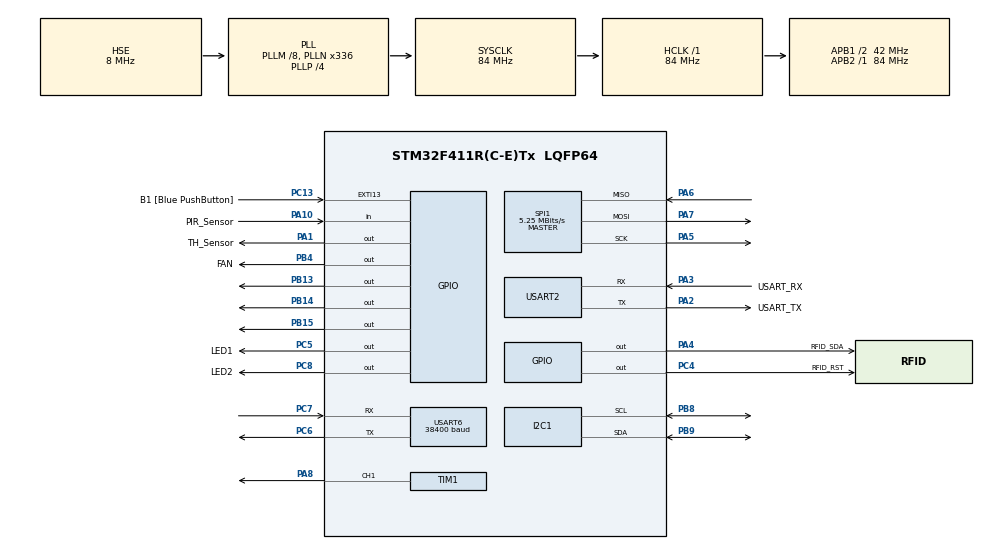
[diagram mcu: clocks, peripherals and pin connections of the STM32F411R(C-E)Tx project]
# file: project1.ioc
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FREERTOS.Mutexes01=ESP_Mutex,Dynamic,NULL,Available;NTP_Mutex,Dynamic,NULL,Available;Weather_Mutex,Dynamic,NULL,Available
FREERTOS.Tasks01=AiotTask,24,256,Aiot_Task,Default,NULL,Dynamic,NULL,NULL;NTPTask,16,512,NTP_Task,Default,NULL,Dynamic,NULL,NULL;WeatherTask,16,1024,Weather_Task,Default,NULL,Dynamic,NULL,NULL;CommandTask,40,256,Command_Task,Default,NULL,Dynamic,NULL,NULL;LCDTask,16,256,LCD_Task,Default,NULL,Dynamic,NULL,NULL;RFIDTask,24,256,RFID_Task,Default,NULL,Dynamic,NULL,NULL;THTask,8,256,TH_Task,Default,NULL,Dynamic,NULL,NULL;PIRTask,8,256,PIR_Task,Default,NULL,Dynamic,NULL,NULL;ScheduleTask,8,128,Schedule_Task,Default,NULL,Dynamic,NULL,NULL
Mcu.Family=STM32F4
Mcu.Name=STM32F411R(C-E)Tx
Mcu.Package=LQFP64
NVIC.PriorityGroup=NVIC_PRIORITYGROUP_4
NVIC.RTC_Alarm_IRQn=true\:5\:0\:false\:false\:true\:true\:true\:true\:true
NVIC.USART2_IRQn=true\:5\:0\:false\:false\:true\:true\:true\:true\:true
NVIC.USART6_IRQn=true\:5\:0\:false\:false\:true\:true\:true\:true\:true
PA1.GPIO_Label=TH_Sensor
PA1.Signal=GPIO_Output
PA10.GPIO_Label=PIR_Sensor
PA10.GPIO_PuPd=GPIO_PULLDOWN
PA10.Signal=GPIO_Input
PA13.GPIO_Label=TMS
PA13.Mode=Serial_Wire
PA13.Signal=SYS_JTMS-SWDIO
PA14.GPIO_Label=TCK
PA14.Mode=Serial_Wire
PA14.Signal=SYS_JTCK-SWCLK
PA2.GPIO_Label=USART_TX
PA2.Mode=Asynchronous
PA2.Signal=USART2_TX
PA3.GPIO_Label=USART_RX
PA3.Mode=Asynchronous
PA3.Signal=USART2_RX
PA4.GPIO_Label=RFID_SDA
PA4.Signal=GPIO_Output
PA5.Mode=Full_Duplex_Master
PA5.Signal=SPI1_SCK
PA6.Mode=Full_Duplex_Master
PA6.Signal=SPI1_MISO
PA7.Mode=Full_Duplex_Master
PA7.Signal=SPI1_MOSI
PA8.Signal=S_TIM1_CH1
PB13.Signal=GPIO_Output
PB14.Signal=GPIO_Output
PB15.Signal=GPIO_Output
PB3.GPIO_Label=SWO
PB3.Signal=SYS_JTDO-SWO
PB4.GPIO_Label=FAN
PB4.Signal=GPIO_Output
PB8.Mode=I2C
PB8.Signal=I2C1_SCL
PB9.Mode=I2C
PB9.Signal=I2C1_SDA
PC13-ANTI_TAMP.GPIO_Label=B1 [Blue PushButton]
PC13-ANTI_TAMP.GPIO_ModeDefaultEXTI=GPIO_MODE_IT_FALLING
PC13-ANTI_TAMP.Signal=GPXTI13
PC14-OSC32_IN.Signal=RCC_OSC32_IN
PC15-OSC32_OUT.Signal=RCC_OSC32_OUT
PC4.GPIO_Label=RFID_RST
PC4.Signal=GPIO_Output
PC5.GPIO_Label=LED1
PC5.Signal=GPIO_Output
PC6.Mode=Asynchronous
PC6.Signal=USART6_TX
PC7.Mode=Asynchronous
PC7.Signal=USART6_RX
PC8.GPIO_Label=LED2
PC8.Signal=GPIO_Output
PH0\ -\ OSC_IN.Mode=HSE-External-Oscillator
PH0\ -\ OSC_IN.Signal=RCC_OSC_IN
PH1\ -\ OSC_OUT.Mode=HSE-External-Oscillator
PH1\ -\ OSC_OUT.Signal=RCC_OSC_OUT
ProjectManager.HeapSize=0x200
ProjectManager.StackSize=0x400
ProjectManager.TargetToolchain=STM32CubeIDE
RCC.48MHZClocksFreq_Value=84000000
RCC.AHBFreq_Value=84000000
RCC.APB1CLKDivider=RCC_HCLK_DIV2
RCC.APB1Freq_Value=42000000
RCC.APB1TimFreq_Value=84000000
RCC.APB2Freq_Value=84000000
RCC.APB2TimFreq_Value=84000000
RCC.CortexFreq_Value=84000000
RCC.FLatency-AdvancedSettings=FLASH_LATENCY_2
RCC.HCLKFreq_Value=84000000
RCC.HSE_VALUE=8000000
RCC.HSI_VALUE=16000000
RCC.LSE_VALUE=32768
RCC.PLLM=8
RCC.PLLN=336
RCC.PLLP=RCC_PLLP_DIV4
RCC.PLLSourceVirtual=RCC_PLLSOURCE_HSE
RCC.SYSCLKFreq_VALUE=84000000
RCC.SYSCLKSource=RCC_SYSCLKSOURCE_PLLCLK
RCC.VCOOutputFreq_Value=336000000
RTC.Alarm=RTC_ALARM_A
SH.S_TIM1_CH1.0=TIM1_CH1,PWM Generation1 CH1
SPI1.BaudRatePrescaler=SPI_BAUDRATEPRESCALER_16
SPI1.CalculateBaudRate=5.25 MBits/s
SPI1.Direction=SPI_DIRECTION_2LINES
SPI1.Mode=SPI_MODE_MASTER
SPI1.VirtualType=VM_MASTER
TIM1.AutoReloadPreload=TIM_AUTORELOAD_PRELOAD_ENABLE
TIM1.Channel-PWM\ Generation1\ CH1=TIM_CHANNEL_1
TIM1.Period=19999
TIM1.Prescaler=83
TIM1.Pulse-PWM\ Generation1\ CH1=500
USART2.VirtualMode=VM_ASYNC
USART6.BaudRate=38400
USART6.VirtualMode=VM_ASYNC
VP_FREERTOS_VS_CMSIS_V2.Mode=CMSIS_V2
VP_RTC_VS_RTC_Activate.Mode=RTC_Enabled
VP_RTC_VS_RTC_Alarm_A_Intern.Mode=Alarm A
VP_RTC_VS_RTC_Calendar.Mode=RTC_Calendar
VP_TIM1_VS_ClockSourceINT.Mode=Internal
board=NUCLEO-F411RE

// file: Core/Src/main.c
/* USER CODE BEGIN Header */
/**
  ******************************************************************************
  * @file           : main.c
  * @brief          : Main program body
  ******************************************************************************
  * @attention
  *
  * Copyright (c) 2024 STMicroelectronics.
  * All rights reserved.
  *
  * This software is licensed under terms that can be found in the LICENSE file
  * in the root directory of this software component.
  * If no LICENSE file comes with this software, it is provided AS-IS.
  *
  ******************************************************************************
  */
/* USER CODE END Header */
#include "main.h"
#include "cmsis_os.h"

/* USER CODE BEGIN Includes */
#include <stdio.h>
#include <string.h>
#include "esp.h"

#include "Aiot_Task.h"
#include "NTP_Task.h"
#include "Weather_Task.h"
#include "Command_Task.h"
#include "Servo.h"
#include "FanHold.h"
#include "Schedule.h"

volatile uint8_t fan_hold = 0;
volatile uint8_t g_lcd_hh = 0;
volatile uint8_t g_lcd_mm = 0;

/* USER CODE END Includes */

/* USER CODE BEGIN PTD */
time_t ntp_time;
/* USER CODE END PTD */

/* USER CODE BEGIN PD */
#ifdef __GNUC__
/* With GCC, small printf (option LD Linker->Libraries->Small printf
   set to 'Yes') calls __io_putchar() */
#define PUTCHAR_PROTOTYPE int __io_putchar(int ch)
#else
#define PUTCHAR_PROTOTYPE int fputc(int ch, FILE *f)
#endif /* __GNUC__ */
#define ARR_CNT 5
#define CMD_SIZE 50

/* USER CODE END PD */

I2C_HandleTypeDef hi2c1;

RTC_HandleTypeDef hrtc;

SPI_HandleTypeDef hspi1;

TIM_HandleTypeDef htim1;

UART_HandleTypeDef huart2;
UART_HandleTypeDef huart6;

/* Definitions for AiotTask */
osThreadId_t AiotTaskHandle;
const osThreadAttr_t AiotTask_attributes = {
  .name = "AiotTask",
  .stack_size = 256 * 4,
  .priority = (osPriority_t) osPriorityNormal,
};
/* Definitions for NTPTask */
osThreadId_t NTPTaskHandle;
const osThreadAttr_t NTPTask_attributes = {
  .name = "NTPTask",
  .stack_size = 512 * 4,
  .priority = (osPriority_t) osPriorityBelowNormal,
};
/* Definitions for WeatherTask */
osThreadId_t WeatherTaskHandle;
const osThreadAttr_t WeatherTask_attributes = {
  .name = "WeatherTask",
  .stack_size = 1024 * 4,
  .priority = (osPriority_t) osPriorityBelowNormal,
};
/* Definitions for CommandTask */
osThreadId_t CommandTaskHandle;
const osThreadAttr_t CommandTask_attributes = {
  .name = "CommandTask",
  .stack_size = 256 * 4,
  .priority = (osPriority_t) osPriorityHigh,
};
/* Definitions for LCDTask */
osThreadId_t LCDTaskHandle;
const osThreadAttr_t LCDTask_attributes = {
  .name = "LCDTask",
  .stack_size = 256 * 4,
  .priority = (osPriority_t) osPriorityBelowNormal,
};
/* Definitions for RFIDTask */
osThreadId_t RFIDTaskHandle;
const osThreadAttr_t RFIDTask_attributes = {
  .name = "RFIDTask",
  .stack_size = 256 * 4,
  .priority = (osPriority_t) osPriorityNormal,
};
/* Definitions for THTask */
osThreadId_t THTaskHandle;
const osThreadAttr_t THTask_attributes = {
  .name = "THTask",
  .stack_size = 256 * 4,
  .priority = (osPriority_t) osPriorityLow,
};
/* Definitions for PIRTask */
osThreadId_t PIRTaskHandle;
const osThreadAttr_t PIRTask_attributes = {
  .name = "PIRTask",
  .stack_size = 256 * 4,
  .priority = (osPriority_t) osPriorityLow,
};
/* Definitions for ScheduleTask */
osThreadId_t ScheduleTaskHandle;
const osThreadAttr_t ScheduleTask_attributes = {
  .name = "ScheduleTask",
  .stack_size = 128 * 4,
  .priority = (osPriority_t) osPriorityLow,
};
/* Definitions for ESP_Mutex */
osMutexId_t ESP_MutexHandle;
const osMutexAttr_t ESP_Mutex_attributes = {
  .name = "ESP_Mutex"
};
/* Definitions for NTP_Mutex */
osMutexId_t NTP_MutexHandle;
const osMutexAttr_t NTP_Mutex_attributes = {
  .name = "NTP_Mutex"
};
/* Definitions for Weather_Mutex */
osMutexId_t Weather_MutexHandle;
const osMutexAttr_t Weather_Mutex_attributes = {
  .name = "Weather_Mutex"
};
/* USER CODE BEGIN PV */
uint8_t rx2char;
extern cb_data_t cb_data;
extern volatile unsigned char rx2Flag;
extern volatile char rx2Data[50];
/* USER CODE END PV */

void SystemClock_Config(void);
static void MX_GPIO_Init(void);
static void MX_USART2_UART_Init(void);
static void MX_USART6_UART_Init(void);
static void MX_RTC_Init(void);
static void MX_I2C1_Init(void);
static void MX_TIM1_Init(void);
static void MX_SPI1_Init(void);
void Aiot_Task(void *argument);
void NTP_Task(void *argument);
void Weather_Task(void *argument);
void Command_Task(void *argument);
void LCD_Task(void *argument);
void RFID_Task(void *argument);
void TH_Task(void *argument);
void PIR_Task(void *argument);
void Schedule_Task(void *argument);

/* USER CODE BEGIN PFP */
char strBuff[MAX_ESP_COMMAND_LEN];
void MX_GPIO_LED_ON(int flag);
void MX_GPIO_LED_OFF(int flag);
void MX_GPIO_FAN_ON(int flag);
void MX_GPIO_FAN_OFF(int flag);
char sendBuf[MAX_UART_COMMAND_LEN]={0};
/* USER CODE END PFP */

int main(void)
{

  /* USER CODE BEGIN 1 */
  int ret = 0;
  /* USER CODE END 1 */

  /* MCU Configuration--------------------------------------------------------*/

  /* Reset of all peripherals, Initializes the Flash interface and the Systick. */
  HAL_Init();

  /* Configure the system clock */
  SystemClock_Config();

  /* Initialize all configured peripherals */
  MX_GPIO_Init();
  MX_USART2_UART_Init();
  MX_USART6_UART_Init();
  MX_RTC_Init();
  MX_I2C1_Init();
  MX_TIM1_Init();
  MX_SPI1_Init();
  /* USER CODE BEGIN 2 */
  Schedule_Init();
  Servo_Init();
  HAL_TIM_PWM_Start(&htim1, TIM_CHANNEL_1);
  printf("Start main() - wifi\r\n");
  ret |= drv_uart_init();
  ret |= drv_esp_init();
  if(ret != 0)
  {
	  printf("Esp response error\r\n");
	  Error_Handler();
  }

  /* USER CODE END 2 */

  /* Init scheduler */
  osKernelInitialize();
  /* Create the mutex(es) */
  /* creation of ESP_Mutex */
  ESP_MutexHandle = osMutexNew(&ESP_Mutex_attributes);

  /* creation of NTP_Mutex */
  NTP_MutexHandle = osMutexNew(&NTP_Mutex_attributes);

  /* creation of Weather_Mutex */
  Weather_MutexHandle = osMutexNew(&Weather_Mutex_attributes);

  /* Create the thread(s) */
  /* creation of AiotTask */
  AiotTaskHandle = osThreadNew(Aiot_Task, NULL, &AiotTask_attributes);

  /* creation of NTPTask */
  NTPTaskHandle = osThreadNew(NTP_Task, NULL, &NTPTask_attributes);

  /* creation of WeatherTask */
  WeatherTaskHandle = osThreadNew(Weather_Task, NULL, &WeatherTask_attributes);

  /* creation of CommandTask */
  CommandTaskHandle = osThreadNew(Command_Task, NULL, &CommandTask_attributes);

  /* creation of LCDTask */
  LCDTaskHandle = osThreadNew(LCD_Task, NULL, &LCDTask_attributes);

  /* creation of RFIDTask */
  RFIDTaskHandle = osThreadNew(RFID_Task, NULL, &RFIDTask_attributes);

  /* creation of THTask */
  THTaskHandle = osThreadNew(TH_Task, NULL, &THTask_attributes);

  /* creation of PIRTask */
  PIRTaskHandle = osThreadNew(PIR_Task, NULL, &PIRTask_attributes);

  /* creation of ScheduleTask */
  ScheduleTaskHandle = osThreadNew(Schedule_Task, NULL, &ScheduleTask_attributes);

  /* Start scheduler */
  osKernelStart();

  /* We should never get here as control is now taken by the scheduler */

  /* Infinite loop */
  /* USER CODE BEGIN WHILE */
  while (1)
  {
	// main()에서는 더 이상 처리할 것이 없음
	// 모든 기능은 FreeRTOS Task에서 처리
	osDelay(1000); // 안전을 위해 1초 대기
    /* USER CODE END WHILE */

  }
}

void SystemClock_Config(void)
{
  RCC_OscInitTypeDef RCC_OscInitStruct = {0};
  RCC_ClkInitTypeDef RCC_ClkInitStruct = {0};

  /** Configure the main internal regulator output voltage
  */
  __HAL_RCC_PWR_CLK_ENABLE();
  __HAL_PWR_VOLTAGESCALING_CONFIG(PWR_REGULATOR_VOLTAGE_SCALE1);

  /** Initializes the RCC Oscillators according to the specified parameters
  * in the RCC_OscInitTypeDef structure.
  */
  RCC_OscInitStruct.OscillatorType = RCC_OSCILLATORTYPE_LSI|RCC_OSCILLATORTYPE_HSE;
  RCC_OscInitStruct.HSEState = RCC_HSE_ON;
  RCC_OscInitStruct.LSIState = RCC_LSI_ON;
  RCC_OscInitStruct.PLL.PLLState = RCC_PLL_ON;
  RCC_OscInitStruct.PLL.PLLSource = RCC_PLLSOURCE_HSE;
  RCC_OscInitStruct.PLL.PLLM = 8;
  RCC_OscInitStruct.PLL.PLLN = 336;
  RCC_OscInitStruct.PLL.PLLP = RCC_PLLP_DIV4;
  RCC_OscInitStruct.PLL.PLLQ = 4;
  if (HAL_RCC_OscConfig(&RCC_OscInitStruct) != HAL_OK)
  {
    Error_Handler();
  }

  /** Initializes the CPU, AHB and APB buses clocks
  */
  RCC_ClkInitStruct.ClockType = RCC_CLOCKTYPE_HCLK|RCC_CLOCKTYPE_SYSCLK
                              |RCC_CLOCKTYPE_PCLK1|RCC_CLOCKTYPE_PCLK2;
  RCC_ClkInitStruct.SYSCLKSource = RCC_SYSCLKSOURCE_PLLCLK;
  RCC_ClkInitStruct.AHBCLKDivider = RCC_SYSCLK_DIV1;
  RCC_ClkInitStruct.APB1CLKDivider = RCC_HCLK_DIV2;
  RCC_ClkInitStruct.APB2CLKDivider = RCC_HCLK_DIV1;

  if (HAL_RCC_ClockConfig(&RCC_ClkInitStruct, FLASH_LATENCY_2) != HAL_OK)
  {
    Error_Handler();
  }
}

static void MX_I2C1_Init(void)
{

  hi2c1.Instance = I2C1;
  hi2c1.Init.ClockSpeed = 100000;
  hi2c1.Init.DutyCycle = I2C_DUTYCYCLE_2;
  hi2c1.Init.OwnAddress1 = 0;
  hi2c1.Init.AddressingMode = I2C_ADDRESSINGMODE_7BIT;
  hi2c1.Init.DualAddressMode = I2C_DUALADDRESS_DISABLE;
  hi2c1.Init.OwnAddress2 = 0;
  hi2c1.Init.GeneralCallMode = I2C_GENERALCALL_DISABLE;
  hi2c1.Init.NoStretchMode = I2C_NOSTRETCH_DISABLE;
  if (HAL_I2C_Init(&hi2c1) != HAL_OK)
  {
    Error_Handler();
  }

}

static void MX_RTC_Init(void)
{

  RTC_TimeTypeDef sTime = {0};
  RTC_DateTypeDef sDate = {0};
  RTC_AlarmTypeDef sAlarm = {0};

  /** Initialize RTC Only
  */
  hrtc.Instance = RTC;
  hrtc.Init.HourFormat = RTC_HOURFORMAT_24;
  hrtc.Init.AsynchPrediv = 127;
  hrtc.Init.SynchPrediv = 255;
  hrtc.Init.OutPut = RTC_OUTPUT_DISABLE;
  hrtc.Init.OutPutPolarity = RTC_OUTPUT_POLARITY_HIGH;
  hrtc.Init.OutPutType = RTC_OUTPUT_TYPE_OPENDRAIN;
  if (HAL_RTC_Init(&hrtc) != HAL_OK)
  {
    Error_Handler();
  }

  /** Initialize RTC and set the Time and Date
  */
  sTime.Hours = 0x0;
  sTime.Minutes = 0x0;
  sTime.Seconds = 0x0;
  sTime.DayLightSaving = RTC_DAYLIGHTSAVING_NONE;
  sTime.StoreOperation = RTC_STOREOPERATION_RESET;
  if (HAL_RTC_SetTime(&hrtc, &sTime, RTC_FORMAT_BCD) != HAL_OK)
  {
    Error_Handler();
  }
  sDate.WeekDay = RTC_WEEKDAY_MONDAY;
  sDate.Month = RTC_MONTH_JANUARY;
  sDate.Date = 0x1;
  sDate.Year = 0x0;

  if (HAL_RTC_SetDate(&hrtc, &sDate, RTC_FORMAT_BCD) != HAL_OK)
  {
    Error_Handler();
  }

  /** Enable the Alarm A
  */
  sAlarm.AlarmTime.Hours = 0x0;
  sAlarm.AlarmTime.Minutes = 0x0;
  sAlarm.AlarmTime.Seconds = 0x0;
  sAlarm.AlarmTime.SubSeconds = 0x0;
  sAlarm.AlarmTime.DayLightSaving = RTC_DAYLIGHTSAVING_NONE;
  sAlarm.AlarmTime.StoreOperation = RTC_STOREOPERATION_RESET;
  sAlarm.AlarmMask = RTC_ALARMMASK_NONE;
  sAlarm.AlarmSubSecondMask = RTC_ALARMSUBSECONDMASK_ALL;
  sAlarm.AlarmDateWeekDaySel = RTC_ALARMDATEWEEKDAYSEL_DATE;
  sAlarm.AlarmDateWeekDay = 0x1;
  sAlarm.Alarm = RTC_ALARM_A;
  if (HAL_RTC_SetAlarm_IT(&hrtc, &sAlarm, RTC_FORMAT_BCD) != HAL_OK)
  {
    Error_Handler();
  }

}

static void MX_SPI1_Init(void)
{

  /* SPI1 parameter configuration*/
  hspi1.Instance = SPI1;
  hspi1.Init.Mode = SPI_MODE_MASTER;
  hspi1.Init.Direction = SPI_DIRECTION_2LINES;
  hspi1.Init.DataSize = SPI_DATASIZE_8BIT;
  hspi1.Init.CLKPolarity = SPI_POLARITY_LOW;
  hspi1.Init.CLKPhase = SPI_PHASE_1EDGE;
  hspi1.Init.NSS = SPI_NSS_SOFT;
  hspi1.Init.BaudRatePrescaler = SPI_BAUDRATEPRESCALER_16;
  hspi1.Init.FirstBit = SPI_FIRSTBIT_MSB;
  hspi1.Init.TIMode = SPI_TIMODE_DISABLE;
  hspi1.Init.CRCCalculation = SPI_CRCCALCULATION_DISABLE;
  hspi1.Init.CRCPolynomial = 10;
  if (HAL_SPI_Init(&hspi1) != HAL_OK)
  {
    Error_Handler();
  }

}

static void MX_TIM1_Init(void)
{

  TIM_ClockConfigTypeDef sClockSourceConfig = {0};
  TIM_MasterConfigTypeDef sMasterConfig = {0};
  TIM_OC_InitTypeDef sConfigOC = {0};
  TIM_BreakDeadTimeConfigTypeDef sBreakDeadTimeConfig = {0};

  htim1.Instance = TIM1;
  htim1.Init.Prescaler = 83;
  htim1.Init.CounterMode = TIM_COUNTERMODE_UP;
  htim1.Init.Period = 19999;
  htim1.Init.ClockDivision = TIM_CLOCKDIVISION_DIV1;
  htim1.Init.RepetitionCounter = 0;
  htim1.Init.AutoReloadPreload = TIM_AUTORELOAD_PRELOAD_ENABLE;
  if (HAL_TIM_Base_Init(&htim1) != HAL_OK)
  {
    Error_Handler();
  }
  sClockSourceConfig.ClockSource = TIM_CLOCKSOURCE_INTERNAL;
  if (HAL_TIM_ConfigClockSource(&htim1, &sClockSourceConfig) != HAL_OK)
  {
    Error_Handler();
  }
  if (HAL_TIM_PWM_Init(&htim1) != HAL_OK)
  {
    Error_Handler();
  }
  sMasterConfig.MasterOutputTrigger = TIM_TRGO_RESET;
  sMasterConfig.MasterSlaveMode = TIM_MASTERSLAVEMODE_DISABLE;
  if (HAL_TIMEx_MasterConfigSynchronization(&htim1, &sMasterConfig) != HAL_OK)
  {
    Error_Handler();
  }
  sConfigOC.OCMode = TIM_OCMODE_PWM1;
  sConfigOC.Pulse = 500;
  sConfigOC.OCPolarity = TIM_OCPOLARITY_HIGH;
  sConfigOC.OCNPolarity = TIM_OCNPOLARITY_HIGH;
  sConfigOC.OCFastMode = TIM_OCFAST_DISABLE;
  sConfigOC.OCIdleState = TIM_OCIDLESTATE_RESET;
  sConfigOC.OCNIdleState = TIM_OCNIDLESTATE_RESET;
  if (HAL_TIM_PWM_ConfigChannel(&htim1, &sConfigOC, TIM_CHANNEL_1) != HAL_OK)
  {
    Error_Handler();
  }
  sBreakDeadTimeConfig.OffStateRunMode = TIM_OSSR_DISABLE;
  sBreakDeadTimeConfig.OffStateIDLEMode = TIM_OSSI_DISABLE;
  sBreakDeadTimeConfig.LockLevel = TIM_LOCKLEVEL_OFF;
  sBreakDeadTimeConfig.DeadTime = 0;
  sBreakDeadTimeConfig.BreakState = TIM_BREAK_DISABLE;
  sBreakDeadTimeConfig.BreakPolarity = TIM_BREAKPOLARITY_HIGH;
  sBreakDeadTimeConfig.AutomaticOutput = TIM_AUTOMATICOUTPUT_DISABLE;
  if (HAL_TIMEx_ConfigBreakDeadTime(&htim1, &sBreakDeadTimeConfig) != HAL_OK)
  {
    Error_Handler();
  }
  HAL_TIM_MspPostInit(&htim1);

}

static void MX_USART2_UART_Init(void)
{

  huart2.Instance = USART2;
  huart2.Init.BaudRate = 115200;
  huart2.Init.WordLength = UART_WORDLENGTH_8B;
  huart2.Init.StopBits = UART_STOPBITS_1;
  huart2.Init.Parity = UART_PARITY_NONE;
  huart2.Init.Mode = UART_MODE_TX_RX;
  huart2.Init.HwFlowCtl = UART_HWCONTROL_NONE;
  huart2.Init.OverSampling = UART_OVERSAMPLING_16;
  if (HAL_UART_Init(&huart2) != HAL_OK)
  {
    Error_Handler();
  }

}

static void MX_USART6_UART_Init(void)
{

  huart6.Instance = USART6;
  huart6.Init.BaudRate = 38400;
  huart6.Init.WordLength = UART_WORDLENGTH_8B;
  huart6.Init.StopBits = UART_STOPBITS_1;
  huart6.Init.Parity = UART_PARITY_NONE;
  huart6.Init.Mode = UART_MODE_TX_RX;
  huart6.Init.HwFlowCtl = UART_HWCONTROL_NONE;
  huart6.Init.OverSampling = UART_OVERSAMPLING_16;
  if (HAL_UART_Init(&huart6) != HAL_OK)
  {
    Error_Handler();
  }

}

static void MX_GPIO_Init(void)
{
  GPIO_InitTypeDef GPIO_InitStruct = {0};

  /* GPIO Ports Clock Enable */
  __HAL_RCC_GPIOC_CLK_ENABLE();
  __HAL_RCC_GPIOH_CLK_ENABLE();
  __HAL_RCC_GPIOA_CLK_ENABLE();
  __HAL_RCC_GPIOB_CLK_ENABLE();

  /*Configure GPIO pin Output Level */
  HAL_GPIO_WritePin(GPIOA, TH_Sensor_Pin|RFID_SDA_Pin, GPIO_PIN_RESET);

  /*Configure GPIO pin Output Level */
  HAL_GPIO_WritePin(GPIOC, RFID_RST_Pin|LED1_Pin|LED2_Pin, GPIO_PIN_RESET);

  /*Configure GPIO pin Output Level */
  HAL_GPIO_WritePin(GPIOB, GPIO_PIN_13|GPIO_PIN_14|GPIO_PIN_15|FAN_Pin, GPIO_PIN_RESET);

  /*Configure GPIO pin : B1_Pin */
  GPIO_InitStruct.Pin = B1_Pin;
  GPIO_InitStruct.Mode = GPIO_MODE_IT_FALLING;
  GPIO_InitStruct.Pull = GPIO_NOPULL;
  HAL_GPIO_Init(B1_GPIO_Port, &GPIO_InitStruct);

  /*Configure GPIO pins : TH_Sensor_Pin RFID_SDA_Pin */
  GPIO_InitStruct.Pin = TH_Sensor_Pin|RFID_SDA_Pin;
  GPIO_InitStruct.Mode = GPIO_MODE_OUTPUT_PP;
  GPIO_InitStruct.Pull = GPIO_NOPULL;
  GPIO_InitStruct.Speed = GPIO_SPEED_FREQ_LOW;
  HAL_GPIO_Init(GPIOA, &GPIO_InitStruct);

  /*Configure GPIO pins : RFID_RST_Pin LED1_Pin LED2_Pin */
  GPIO_InitStruct.Pin = RFID_RST_Pin|LED1_Pin|LED2_Pin;
  GPIO_InitStruct.Mode = GPIO_MODE_OUTPUT_PP;
  GPIO_InitStruct.Pull = GPIO_NOPULL;
  GPIO_InitStruct.Speed = GPIO_SPEED_FREQ_LOW;
  HAL_GPIO_Init(GPIOC, &GPIO_InitStruct);

  /*Configure GPIO pins : PB13 PB14 PB15 FAN_Pin */
  GPIO_InitStruct.Pin = GPIO_PIN_13|GPIO_PIN_14|GPIO_PIN_15|FAN_Pin;
  GPIO_InitStruct.Mode = GPIO_MODE_OUTPUT_PP;
  GPIO_InitStruct.Pull = GPIO_NOPULL;
  GPIO_InitStruct.Speed = GPIO_SPEED_FREQ_LOW;
  HAL_GPIO_Init(GPIOB, &GPIO_InitStruct);

  /*Configure GPIO pin : PIR_Sensor_Pin */
  GPIO_InitStruct.Pin = PIR_Sensor_Pin;
  GPIO_InitStruct.Mode = GPIO_MODE_INPUT;
  GPIO_InitStruct.Pull = GPIO_PULLDOWN;
  HAL_GPIO_Init(PIR_Sensor_GPIO_Port, &GPIO_InitStruct);

}

void Error_Handler(void)
{
  __disable_irq();
  while (1)
  {
  }
}
